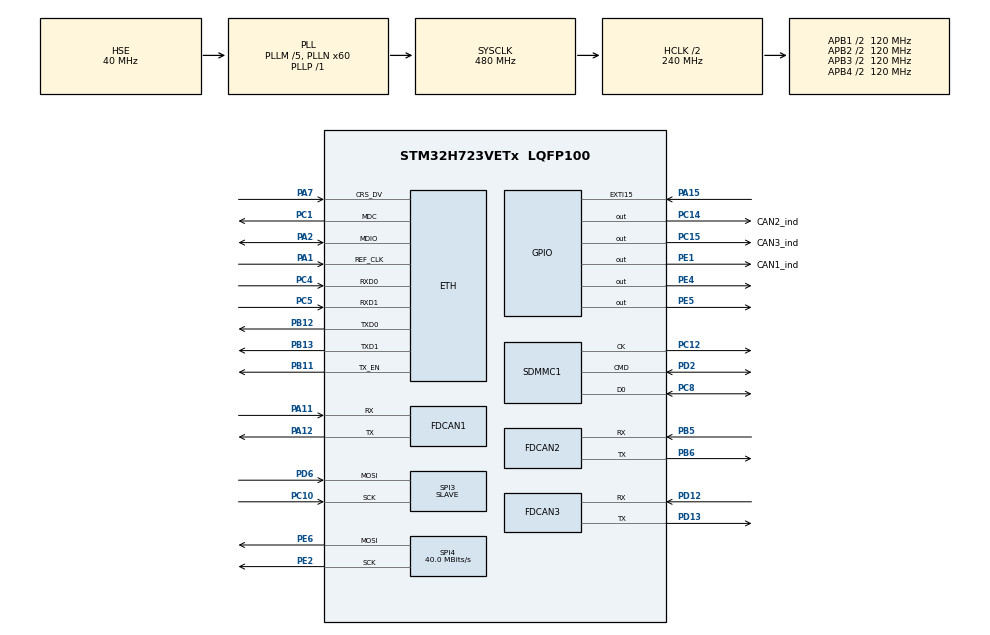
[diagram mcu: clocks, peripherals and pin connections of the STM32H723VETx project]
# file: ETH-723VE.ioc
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CORTEX_M7.AccessPermission_S-Cortex_Memory_Protection_Unit_Region1_Settings_S=MPU_REGION_FULL_ACCESS
CORTEX_M7.AccessPermission_S-Cortex_Memory_Protection_Unit_Region2_Settings_S=MPU_REGION_FULL_ACCESS
CORTEX_M7.AccessPermission_S-Cortex_Memory_Protection_Unit_Region3_Settings_S=MPU_REGION_FULL_ACCESS
CORTEX_M7.BaseAddress_S-Cortex_Memory_Protection_Unit_Region1_Settings_S=0x30000000
CORTEX_M7.BaseAddress_S-Cortex_Memory_Protection_Unit_Region2_Settings_S=0x30004000
CORTEX_M7.BaseAddress_S-Cortex_Memory_Protection_Unit_Region3_Settings_S=0x24000000
CORTEX_M7.CPU_DCache=Enabled
CORTEX_M7.CPU_ICache=Enabled
CORTEX_M7.Enable_S-Cortex_Memory_Protection_Unit_Region1_Settings_S=MPU_REGION_ENABLE
CORTEX_M7.Enable_S-Cortex_Memory_Protection_Unit_Region2_Settings_S=MPU_REGION_ENABLE
CORTEX_M7.Enable_S-Cortex_Memory_Protection_Unit_Region3_Settings_S=MPU_REGION_ENABLE
CORTEX_M7.IsBufferable_S-Cortex_Memory_Protection_Unit_Region1_Settings_S=MPU_ACCESS_BUFFERABLE
CORTEX_M7.IsShareable_S-Cortex_Memory_Protection_Unit_Region2_Settings_S=MPU_ACCESS_SHAREABLE
CORTEX_M7.IsShareable_S-Cortex_Memory_Protection_Unit_Region3_Settings_S=MPU_ACCESS_SHAREABLE
CORTEX_M7.Size_S-Cortex_Memory_Protection_Unit_Region1_Settings_S=MPU_REGION_SIZE_1KB
CORTEX_M7.Size_S-Cortex_Memory_Protection_Unit_Region2_Settings_S=MPU_REGION_SIZE_16KB
CORTEX_M7.Size_S-Cortex_Memory_Protection_Unit_Region3_Settings_S=MPU_REGION_SIZE_128KB
CORTEX_M7.TypeExtField_S-Cortex_Memory_Protection_Unit_Region2_Settings_S=MPU_TEX_LEVEL1
CORTEX_M7.default_mode_Activation=1
Dma.Request0=SPI3_RX
Dma.Request1=SPI4_TX
Dma.SPI3_RX.0.Direction=DMA_PERIPH_TO_MEMORY
Dma.SPI3_RX.0.EventEnable=DISABLE
Dma.SPI3_RX.0.FIFOMode=DMA_FIFOMODE_DISABLE
Dma.SPI3_RX.0.Instance=DMA1_Stream1
Dma.SPI3_RX.0.MemDataAlignment=DMA_MDATAALIGN_BYTE
Dma.SPI3_RX.0.MemInc=DMA_MINC_ENABLE
Dma.SPI3_RX.0.Mode=DMA_CIRCULAR
Dma.SPI3_RX.0.PeriphDataAlignment=DMA_PDATAALIGN_BYTE
Dma.SPI3_RX.0.PeriphInc=DMA_PINC_DISABLE
Dma.SPI3_RX.0.Polarity=HAL_DMAMUX_REQ_GEN_RISING
Dma.SPI3_RX.0.Priority=DMA_PRIORITY_LOW
Dma.SPI3_RX.0.RequestNumber=1
Dma.SPI3_RX.0.SignalID=NONE
Dma.SPI3_RX.0.SyncEnable=DISABLE
Dma.SPI3_RX.0.SyncPolarity=HAL_DMAMUX_SYNC_NO_EVENT
Dma.SPI3_RX.0.SyncRequestNumber=1
Dma.SPI3_RX.0.SyncSignalID=NONE
Dma.SPI4_TX.1.Direction=DMA_MEMORY_TO_PERIPH
Dma.SPI4_TX.1.EventEnable=DISABLE
Dma.SPI4_TX.1.FIFOMode=DMA_FIFOMODE_DISABLE
Dma.SPI4_TX.1.Instance=DMA1_Stream0
Dma.SPI4_TX.1.MemDataAlignment=DMA_MDATAALIGN_BYTE
Dma.SPI4_TX.1.MemInc=DMA_MINC_ENABLE
Dma.SPI4_TX.1.Mode=DMA_NORMAL
Dma.SPI4_TX.1.PeriphDataAlignment=DMA_PDATAALIGN_BYTE
Dma.SPI4_TX.1.PeriphInc=DMA_PINC_DISABLE
Dma.SPI4_TX.1.Polarity=HAL_DMAMUX_REQ_GEN_RISING
Dma.SPI4_TX.1.Priority=DMA_PRIORITY_LOW
Dma.SPI4_TX.1.RequestNumber=1
Dma.SPI4_TX.1.SignalID=NONE
Dma.SPI4_TX.1.SyncEnable=DISABLE
Dma.SPI4_TX.1.SyncPolarity=HAL_DMAMUX_SYNC_NO_EVENT
Dma.SPI4_TX.1.SyncRequestNumber=1
Dma.SPI4_TX.1.SyncSignalID=NONE
ETH.MACAddr=02\:00\:00\:00\:00\:00
ETH.MediaInterface=HAL_ETH_RMII_MODE
ETH.RxBuffAddress=0x30000400
ETH.RxBuffLen=1000
FATFS._MAX_LFN=64
FATFS._MAX_SS=4096
FATFS._USE_LFN=1
FDCAN1.AutoRetransmission=ENABLE
FDCAN1.CalculateBaudRateNominal=1000000
FDCAN1.CalculateTimeQuantumNominal=12.5
FDCAN1.DataSyncJumpWidth=4
FDCAN1.DataTimeSeg1=5
FDCAN1.DataTimeSeg2=4
FDCAN1.ExtFiltersNbr=1
FDCAN1.FrameFormat=FDCAN_FRAME_FD_BRS
FDCAN1.MessageRAMOffset=0
FDCAN1.Mode=FDCAN_MODE_NORMAL
FDCAN1.NominalPrescaler=1
FDCAN1.NominalSyncJumpWidth=24
FDCAN1.NominalTimeSeg1=55
FDCAN1.NominalTimeSeg2=24
FDCAN1.RxFifo0ElmtSize=FDCAN_DATA_BYTES_64
FDCAN1.RxFifo0ElmtsNbr=24
FDCAN1.StdFiltersNbr=0
FDCAN1.TransmitPause=ENABLE
FDCAN1.TxElmtSize=FDCAN_DATA_BYTES_64
FDCAN1.TxFifoQueueElmtsNbr=24
FDCAN2.AutoRetransmission=ENABLE
FDCAN2.CalculateBaudRateNominal=1000000
FDCAN2.CalculateTimeQuantumNominal=12.5
FDCAN2.ClockCalibrationCCU=DISABLE
FDCAN2.DataSyncJumpWidth=4
FDCAN2.DataTimeSeg1=5
FDCAN2.DataTimeSeg2=4
FDCAN2.ExtFiltersNbr=1
FDCAN2.FrameFormat=FDCAN_FRAME_FD_BRS
FDCAN2.MessageRAMOffset=768
FDCAN2.Mode=FDCAN_MODE_NORMAL
FDCAN2.NominalPrescaler=1
FDCAN2.NominalSyncJumpWidth=24
FDCAN2.NominalTimeSeg1=55
FDCAN2.NominalTimeSeg2=24
FDCAN2.RxFifo0ElmtSize=FDCAN_DATA_BYTES_64
FDCAN2.RxFifo0ElmtsNbr=24
FDCAN2.StdFiltersNbr=0
FDCAN2.TransmitPause=ENABLE
FDCAN2.TxElmtSize=FDCAN_DATA_BYTES_64
FDCAN2.TxFifoQueueElmtsNbr=24
FDCAN3.AutoRetransmission=ENABLE
FDCAN3.CalculateBaudRateNominal=1000000
FDCAN3.CalculateTimeQuantumNominal=12.5
FDCAN3.DataSyncJumpWidth=4
FDCAN3.DataTimeSeg1=5
FDCAN3.DataTimeSeg2=4
FDCAN3.ExtFiltersNbr=1
FDCAN3.FrameFormat=FDCAN_FRAME_FD_BRS
FDCAN3.MessageRAMOffset=1536
FDCAN3.NominalPrescaler=1
FDCAN3.NominalSyncJumpWidth=24
FDCAN3.NominalTimeSeg1=55
FDCAN3.NominalTimeSeg2=24
FDCAN3.RxFifo0ElmtSize=FDCAN_DATA_BYTES_64
FDCAN3.RxFifo0ElmtsNbr=24
FDCAN3.TransmitPause=ENABLE
FDCAN3.TxElmtSize=FDCAN_DATA_BYTES_64
FDCAN3.TxFifoQueueElmtsNbr=24
LWIP.BSP.number=1
LWIP.IP_ADDRESS=010.127.000.002
LWIP.LWIP_DHCP=0
LWIP.LWIP_IGMP=1
LWIP.LWIP_MULTICAST_TX_OPTIONS=1
LWIP.LWIP_RAM_HEAP_POINTER=0x30004000
LWIP.LWIP_TCP=0
LWIP.MEM_SIZE=14336
LWIP.NETMASK_ADDRESS=255.255.255.000
LWIP.Version=v2.1.2_Cube
LWIP0.BSP.STBoard=false
LWIP0.BSP.api=BSP_COMPONENT_DRIVER
LWIP0.BSP.component=LAN8742
LWIP0.BSP.instance=LAN8742
LWIP0.BSP.name=Driver_PHY
LWIP0.BSP.semaphore=S_LAN8742
LWIP0.BSP.solution=LAN8742
Mcu.Family=STM32H7
Mcu.Name=STM32H723VETx
Mcu.Package=LQFP100
NVIC.DMA1_Stream0_IRQn=true\:0\:0\:false\:false\:true\:false\:true\:true
NVIC.DMA1_Stream1_IRQn=true\:0\:0\:false\:false\:true\:false\:true\:true
NVIC.EXTI15_10_IRQn=true\:0\:0\:false\:false\:true\:true\:true\:true
NVIC.FDCAN1_IT0_IRQn=true\:0\:0\:false\:false\:true\:true\:true\:true
NVIC.FDCAN1_IT1_IRQn=true\:0\:0\:false\:false\:true\:true\:true\:true
NVIC.FDCAN2_IT0_IRQn=true\:0\:0\:false\:false\:true\:true\:true\:true
NVIC.FDCAN2_IT1_IRQn=true\:0\:0\:false\:false\:true\:true\:true\:true
NVIC.PriorityGroup=NVIC_PRIORITYGROUP_4
NVIC.SPI3_IRQn=true\:0\:0\:false\:false\:true\:true\:true\:true
NVIC.SPI4_IRQn=true\:0\:0\:false\:false\:true\:true\:true\:true
NVIC.TIM1_UP_IRQn=true\:0\:0\:false\:false\:true\:true\:true\:true
NVIC.TIM7_IRQn=true\:0\:0\:false\:false\:true\:true\:true\:true
PA1.GPIO_Speed=GPIO_SPEED_FREQ_HIGH
PA1.Mode=RMII
PA1.Signal=ETH_REF_CLK
PA11.Mode=FDCAN_Activate
PA11.Signal=FDCAN1_RX
PA12.Mode=FDCAN_Activate
PA12.Signal=FDCAN1_TX
PA13(JTMS/SWDIO).Mode=Serial_Wire
PA13(JTMS/SWDIO).Signal=DEBUG_JTMS-SWDIO
PA14(JTCK/SWCLK).Mode=Serial_Wire
PA14(JTCK/SWCLK).Signal=DEBUG_JTCK-SWCLK
PA15(JTDI).GPIO_ModeDefaultEXTI=GPIO_MODE_IT_FALLING
PA15(JTDI).Signal=GPXTI15
PA2.GPIO_Speed=GPIO_SPEED_FREQ_HIGH
PA2.Mode=RMII
PA2.Signal=ETH_MDIO
PA7.GPIO_Speed=GPIO_SPEED_FREQ_HIGH
PA7.Mode=RMII
PA7.Signal=ETH_CRS_DV
PB11.GPIO_Speed=GPIO_SPEED_FREQ_HIGH
PB11.Mode=RMII
PB11.Signal=ETH_TX_EN
PB12.GPIO_Speed=GPIO_SPEED_FREQ_HIGH
PB12.Mode=RMII
PB12.Signal=ETH_TXD0
PB13.GPIO_Speed=GPIO_SPEED_FREQ_HIGH
PB13.Mode=RMII
PB13.Signal=ETH_TXD1
PB5.Mode=FDCAN_Activate
PB5.Signal=FDCAN2_RX
PB6.Mode=FDCAN_Activate
PB6.Signal=FDCAN2_TX
PC1.GPIO_Speed=GPIO_SPEED_FREQ_HIGH
PC1.Mode=RMII
PC1.Signal=ETH_MDC
PC10.GPIO_PuPd=GPIO_NOPULL
PC10.GPIO_Speed=GPIO_SPEED_FREQ_VERY_HIGH
PC10.Mode=RX_Only_Simplex_Unidirect_Slave
PC10.Signal=SPI3_SCK
PC12.GPIO_PuPd=GPIO_PULLUP
PC12.GPIO_Speed_High_Default=GPIO_SPEED_FREQ_HIGH
PC12.Mode=SD_1_bit
PC12.Signal=SDMMC1_CK
PC14-OSC32_IN.GPIO_Label=CAN2_ind
PC14-OSC32_IN.Signal=GPIO_Output
PC15-OSC32_OUT.GPIO_Label=CAN3_ind
PC15-OSC32_OUT.Signal=GPIO_Output
PC4.GPIO_Speed=GPIO_SPEED_FREQ_HIGH
PC4.Mode=RMII
PC4.Signal=ETH_RXD0
PC5.GPIO_Speed=GPIO_SPEED_FREQ_HIGH
PC5.Mode=RMII
PC5.Signal=ETH_RXD1
PC8.GPIO_PuPd=GPIO_PULLUP
PC8.GPIO_Speed_High_Default=GPIO_SPEED_FREQ_HIGH
PC8.Mode=SD_1_bit
PC8.Signal=SDMMC1_D0
PD12.Mode=FDCAN_Activate
PD12.Signal=FDCAN3_RX
PD13.Mode=FDCAN_Activate
PD13.Signal=FDCAN3_TX
PD2.GPIO_PuPd=GPIO_PULLUP
PD2.GPIO_Speed_High_Default=GPIO_SPEED_FREQ_HIGH
PD2.Mode=SD_1_bit
PD2.Signal=SDMMC1_CMD
PD6.GPIO_Speed=GPIO_SPEED_FREQ_VERY_HIGH
PD6.Mode=RX_Only_Simplex_Unidirect_Slave
PD6.Signal=SPI3_MOSI
PE1.GPIO_Label=CAN1_ind
PE1.Signal=GPIO_Output
PE2.GPIO_PuPd=GPIO_PULLDOWN
PE2.GPIO_Speed=GPIO_SPEED_FREQ_VERY_HIGH
PE2.Mode=TX_Only_Simplex_Unidirect_Master
PE2.Signal=SPI4_SCK
PE4.Signal=GPIO_Output
PE5.GPIO_ModeDefaultOutputPP=GPIO_MODE_OUTPUT_OD
PE5.GPIO_PuPd=GPIO_NOPULL
PE5.Signal=GPIO_Output
PE6.GPIO_Speed=GPIO_SPEED_FREQ_VERY_HIGH
PE6.Mode=TX_Only_Simplex_Unidirect_Master
PE6.Signal=SPI4_MOSI
PH0-OSC_IN.Mode=HSE-External-Clock-Source
PH0-OSC_IN.Signal=RCC_OSC_IN
ProjectManager.HeapSize=0x2000
ProjectManager.StackSize=0x4000
ProjectManager.TargetToolchain=EWARM V8.32
RCC.ADCFreq_Value=160000000
RCC.APB1Freq_Value=120000000
RCC.APB2Freq_Value=120000000
RCC.APB3Freq_Value=120000000
RCC.APB4Freq_Value=120000000
RCC.CortexFreq_Value=480000000
RCC.D1PPRE=RCC_APB3_DIV2
RCC.D2PPRE1=RCC_APB1_DIV2
RCC.D2PPRE2=RCC_APB2_DIV2
RCC.D3PPRE=RCC_APB4_DIV2
RCC.DIVM1=5
RCC.DIVM2=5
RCC.DIVN1=60
RCC.DIVN2=40
RCC.DIVP1=1
RCC.DIVQ1=6
RCC.HCLKFreq_Value=240000000
RCC.HPRE=RCC_HCLK_DIV2
RCC.HSE_VALUE=40000000
RCC.PLLSourceVirtual=RCC_PLLSOURCE_HSE
RCC.SPI123CLockSelection=RCC_SPI123CLKSOURCE_PLL2
RCC.SYSCLKFreq_VALUE=480000000
RCC.SYSCLKSource=RCC_SYSCLKSOURCE_PLLCLK
RCC.Spi45ClockSelection=RCC_SPI45CLKSOURCE_PLL2
RCC.USBFreq_Value=80000000
SDMMC1.ClockDiv=20
SPI3.DataSize=SPI_DATASIZE_8BIT
SPI3.Direction=SPI_DIRECTION_2LINES_RXONLY
SPI3.Mode=SPI_MODE_SLAVE
SPI3.VirtualType=VM_SLAVE
SPI4.BaudRatePrescaler=SPI_BAUDRATEPRESCALER_4
SPI4.CalculateBaudRate=40.0 MBits/s
SPI4.DataSize=SPI_DATASIZE_8BIT
SPI4.Direction=SPI_DIRECTION_2LINES_TXONLY
SPI4.Mode=SPI_MODE_MASTER
SPI4.NSSPMode=SPI_NSS_PULSE_DISABLE
SPI4.VirtualType=VM_MASTER
TIM1.Period=49
TIM1.Prescaler=479
TIM7.Period=50000
TIM7.Prescaler=240
VP_FATFS_VS_SDIO.Mode=SDIO
VP_LWIP_VS_Enabled.Mode=Enabled
VP_TIM1_VS_ClockSourceINT.Mode=Internal
VP_TIM7_VS_ClockSourceINT.Mode=Enable_Timer
board=custom

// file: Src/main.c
/* USER CODE BEGIN Header */
/**
  ******************************************************************************
  * @file           : main.c
  * @brief          : Main program body
  ******************************************************************************
  * @attention
  *
  * Copyright (c) 2022 STMicroelectronics.
  * All rights reserved.
  *
  * This software is licensed under terms that can be found in the LICENSE file
  * in the root directory of this software component.
  * If no LICENSE file comes with this software, it is provided AS-IS.
  *
  ******************************************************************************
  */
/* USER CODE END Header */
#include "main.h"
#include "fatfs.h"
#include "lwip.h"

/* USER CODE BEGIN Includes */
#include "net.h"
#include "helpers.h"
#include <string.h>

#include "stm32h7xx_ll_gpio.h"
#include "stm32h7xx_ll_spi.h"

#include "lwip.h"
#include "lwip/udp.h"

#include "uavcan.h"

#include "circular_heap.h"

#include "sd_ini_reader.h"
/* USER CODE END Includes */

/* USER CODE BEGIN PD */
#define sd_param
/* USER CODE END PD */

FDCAN_HandleTypeDef hfdcan1;
FDCAN_HandleTypeDef hfdcan2;
FDCAN_HandleTypeDef hfdcan3;

SD_HandleTypeDef hsd1;

SPI_HandleTypeDef hspi3;
SPI_HandleTypeDef hspi4;
DMA_HandleTypeDef hdma_spi3_rx;
DMA_HandleTypeDef hdma_spi4_tx;

TIM_HandleTypeDef htim1;
TIM_HandleTypeDef htim7;

/* USER CODE BEGIN PV */
FDCAN_HandleTypeDef * FDCAN_Handles_Map[3] = {&hfdcan1, &hfdcan2, &hfdcan3};

circular_heap_t spi_tx_heap;
queue spi_tx_queue = {NULL, NULL};

#pragma location=0x24000000
uint8_t SPI_TX_buf[16384] = {0};

#pragma location=0x30007C00
uint8_t SPI_RX_body[1024] = {0};

uint32_t SPI_RX_HEAD = 0;
uint32_t SPI_RX_TAIL = 0;
uint32_t SPI_RX_LAST_TAIL = 0;

extern uint8_t LCM_rx_flag;
extern uint8_t LCM_tx_flag;

uint8_t indicators_state[3] = { 0 };
uint16_t indicators_pins[3] = { CAN1_ind_Pin, CAN2_ind_Pin, CAN3_ind_Pin };
GPIO_TypeDef *indicators_ports[3] = { CAN1_ind_GPIO_Port, CAN2_ind_GPIO_Port, CAN3_ind_GPIO_Port };
/* USER CODE END PV */

void SystemClock_Config(void);
void PeriphCommonClock_Config(void);
static void MPU_Initialize(void);
static void MPU_Config(void);
static void MX_GPIO_Init(void);
static void MX_DMA_Init(void);
static void MX_TIM1_Init(void);
static void MX_FDCAN1_Init(void);
static void MX_FDCAN2_Init(void);
static void MX_FDCAN3_Init(void);
static void MX_SPI3_Init(void);
static void MX_TIM7_Init(void);
static void MX_SPI4_Init(void);
static void MX_SDMMC1_SD_Init(void);
/* USER CODE BEGIN PFP */
void UDP_TX_send( uint16_t *UDP_TX_level );
/* USER CODE END PFP */

/* USER CODE BEGIN 0 */
extern uint64_t TIM7_ITs;

#pragma optimize s=none
uint64_t micros()
{
  return (uint64_t)(__HAL_TIM_GET_COUNTER(&htim7) + 50000u * TIM7_ITs);
}

#pragma optimize s=none
void micros_delay( uint64_t delay )
{
  uint64_t timestamp = micros();
  while( micros() < timestamp + delay );
}

uint32_t previos_char = 9000;

uint8_t debug_collector[1024] = {0};
uint32_t debug_index = 0;

extern struct udp_pcb *upcb;

uint8_t can1_tx_buffer[4096] = {0};
circular_heap_t can1_tx_heap;
queue can1_tx_queue = {NULL, NULL};

uint8_t can2_tx_buffer[4096] = {0};
circular_heap_t can2_tx_heap;
queue can2_tx_queue = {NULL, NULL};

uint8_t can3_tx_buffer[4096] = {0};
circular_heap_t can3_tx_heap;
queue can3_tx_queue = {NULL, NULL};

queue *can_tx_queues[3] = { &can1_tx_queue, &can2_tx_queue, &can3_tx_queue };
circular_heap_t *can_tx_heaps[3] = { &can1_tx_heap, &can2_tx_heap, &can3_tx_heap };

FDCAN_ErrorCountersTypeDef can_error_count[3] = {0};
FDCAN_ProtocolStatusTypeDef can_protocol_stat[3] = {0};

struct pbuf *UDP_TX_buf = NULL;
#define UDP_TX_size 128

//#define uavcan_en

//uint8_t host_mac_addr[6] = {0x7c,0x83,0x34,0xb9,0xee,0x65}; // MORS 1
//uint8_t host_mac_addr[6] = {0x7c,0x83,0x34,0xb9,0xf2,0x91}; // MORS 2
uint8_t MY_IP_ADDRESS[4];
uint8_t host_mac_addr[6] = {0}; // MORS 2
/* USER CODE END 0 */

int main(void)
{
  /* USER CODE BEGIN 1 */
  circular_heap_init(&spi_tx_heap, SPI_TX_buf, 16384);

  circular_heap_init(&can1_tx_heap, can1_tx_buffer, 4096);
  circular_heap_init(&can2_tx_heap, can2_tx_buffer, 4096);
  circular_heap_init(&can3_tx_heap, can3_tx_buffer, 4096);

  UAVCAN_setup();

  /* USER CODE END 1 */

  /* Enable I-Cache---------------------------------------------------------*/
  SCB_EnableICache();

  /* Enable D-Cache---------------------------------------------------------*/
  SCB_EnableDCache();

  /* MCU Configuration--------------------------------------------------------*/

  /* Reset of all peripherals, Initializes the Flash interface and the Systick. */
  HAL_Init();

  /* MPU Configuration--------------------------------------------------------*/
  MPU_Config();

  /* Configure the system clock */
  SystemClock_Config();

/* Configure the peripherals common clocks */
  PeriphCommonClock_Config();

  /* USER CODE BEGIN SysInit */
  __HAL_RCC_D2SRAM1_CLK_ENABLE(); // have no idea how to do this from the CubeMX software.
  HAL_Delay(1000); // does not work without this line. I believe it's linked to lan8720 start-up time.
  /* USER CODE END SysInit */

  /* Initialize all configured peripherals */
  MX_GPIO_Init();
  MX_DMA_Init();
  MX_TIM1_Init();
  MX_FDCAN1_Init();
  MX_FDCAN2_Init();
  MX_FDCAN3_Init();
  //MX_LWIP_Init();
  MX_SPI3_Init();
  MX_TIM7_Init();
  MX_SPI4_Init();
  MX_SDMMC1_SD_Init();
  MX_FATFS_Init();
  /* USER CODE BEGIN 2 */
  #ifdef sd_param
  parse_sd_ini();
  #endif

  HAL_Delay(250);

  MX_LWIP_Init();

  HAL_Delay(250);

  uint16_t UDP_TX_level = 0;
  UDP_TX_buf = pbuf_alloc(PBUF_TRANSPORT, UDP_TX_size, PBUF_RAM); // allocate LWIP memory for outgoing UDP packet

  HAL_SPI_Receive_DMA(&hspi3, SPI_RX_body, 1024);

  udp_client_connect();
  udp_lcm_connect();

  HAL_TIM_Base_Start_IT(&htim7); // enable microseconds timesource
  HAL_TIM_Base_Start_IT(&htim1);

  // Filter for messages from master to this dedicated device.
  FDCAN_FilterTypeDef sFilterConfig;
  sFilterConfig.IdType = FDCAN_EXTENDED_ID;
  sFilterConfig.FilterIndex = 0;
  sFilterConfig.FilterType = FDCAN_FILTER_RANGE;
  sFilterConfig.FilterConfig = FDCAN_FILTER_TO_RXFIFO0;
  sFilterConfig.FilterID1 = 0x0;
  sFilterConfig.FilterID2 = 0x1FFFFFFF;

  // iterate over three CAN bus handles and enable their parameters
  for( int i = 0; i < 3; i++)
  {
    // choose one FDCAN Handle from the three available
    FDCAN_HandleTypeDef * FDCAN_Handle = FDCAN_Handles_Map[i];

    if( FDCAN_Handle != NULL )
    {
      // Configure CAN frames filtering
      if( HAL_FDCAN_ConfigFilter(FDCAN_Handle, &sFilterConfig) != HAL_OK ){ Error_Handler(); }

      // Configure global filter: Filter all remote frames with STD and EXT ID. Reject non matching frames with STD ID and EXT ID
      if( HAL_FDCAN_ConfigGlobalFilter(FDCAN_Handle, FDCAN_REJECT, FDCAN_REJECT, FDCAN_FILTER_REMOTE, FDCAN_FILTER_REMOTE) != HAL_OK ){ Error_Handler(); }

      // Configure and enable Tx Delay Compensation, required for BRS mode.
      if( HAL_FDCAN_ConfigTxDelayCompensation(FDCAN_Handle, 5, 0) != HAL_OK){ Error_Handler(); }
      if( HAL_FDCAN_EnableTxDelayCompensation(FDCAN_Handle) != HAL_OK){ Error_Handler(); }

      // Activate Rx FIFO 0 new message notification
      //if( HAL_FDCAN_ActivateNotification(FDCAN_Handle, FDCAN_IT_RX_FIFO0_NEW_MESSAGE, 0) != HAL_OK ){ Error_Handler(); }

      // Activate TX FIFO empty notification
      if( HAL_FDCAN_ActivateNotification( FDCAN_Handle,
                                          FDCAN_IT_TX_FIFO_EMPTY,
                                          FDCAN_TX_BUFFER0 | FDCAN_TX_BUFFER1 | FDCAN_TX_BUFFER2) != HAL_OK )
                                          { Error_Handler(); }

      // Start FDCAN periphery
      if( HAL_FDCAN_Start(FDCAN_Handle) != HAL_OK ){ Error_Handler(); }
    }
  }
  ///////////////////////////////////////////////////////////////////////////

  // enable the companion chip
  LL_GPIO_SetOutputPin(GPIOE, LL_GPIO_PIN_5);

  // try wake on lan
  for( int i = 0; i < 2; i++ )
  {
    micros_delay(100000);
    wake_on_lan( host_mac_addr );
  }

  /* USER CODE END 2 */

  /* Infinite loop */
  /* USER CODE BEGIN WHILE */
  uint32_t timestamp = HAL_GetTick();
  uint64_t uavcan_request_timestamp = micros();
  while (1)
  {
    /* USER CODE END WHILE */

    /* USER CODE BEGIN 3 */
    if( HAL_GetTick() > timestamp )
    {
      timestamp += 100;

      if( UDP_TX_level > 0 )
      {
        UDP_TX_send( &UDP_TX_level );
      }
    }

    MX_LWIP_Process();

    if( micros() > uavcan_request_timestamp )
    {
      UAVCAN_request();

      uavcan_request_timestamp += 1000;
    }

    if( LCM_rx_flag )
    {
      UAVCAN_send();

      LCM_rx_flag = 0;
    }

    if( LCM_tx_flag )
    {
      transmit_servo_state();

      LCM_tx_flag = 0;
    }

    /// retrieve and process frames from the on-chip FDCAN peripherals
    for( int i = 0; i < 3; i++)
    {
      HAL_FDCAN_GetErrorCounters(FDCAN_Handles_Map[i], &can_error_count[i]);
      HAL_FDCAN_GetProtocolStatus(FDCAN_Handles_Map[i], &can_protocol_stat[i]);

      // ? https://community.st.com/t5/stm32-mcu-products/stm32h7-fdcan-has-lost-the-automatic-bus-off-recovery-mechanism/td-p/187400
      if( can_protocol_stat[i].BusOff )
      {
        CLEAR_BIT(FDCAN_Handles_Map[i]->Instance->CCCR, FDCAN_CCCR_INIT);
      }

      while( HAL_FDCAN_GetRxFifoFillLevel(FDCAN_Handles_Map[i], FDCAN_RX_FIFO0) > 0 )
      {
        FDCAN_RxHeaderTypeDef Header;
        uint8_t RxData[64];

        if (HAL_FDCAN_GetRxMessage(FDCAN_Handles_Map[i], FDCAN_RX_FIFO0, &Header, RxData) != HAL_OK){ Error_Handler(); }

        // turn LED to indicate received message
        indicators_state[i] = 1;

        // separate frames into the LCM and UAVCAN -related buffers
        if( !parse_canard_frame( Header.Identifier, LengthDecoder(Header.DataLength), RxData ) )
        {
          // the canard frames filter said it is not the canard frame and returned 0.
          // we have to put this frame untouched into UDP TX chain
          uint8_t local_buffer[69] = {0};
          uint8_t msg_len = serialize_can_frame(  i,
                                                  Header.Identifier,
                                                  LengthDecoder(Header.DataLength),
                                                  RxData,
                                                  local_buffer);
          if( UDP_TX_level + msg_len > UDP_TX_size )
          {
            UDP_TX_send( &UDP_TX_level );
          }

          pbuf_take_at( UDP_TX_buf, local_buffer, msg_len, UDP_TX_level);
          UDP_TX_level += msg_len;
        }
      }
    }

    // process SPI RX buffer
    while( SPI_RX_HEAD != SPI_RX_TAIL )
    {
      uint8_t *local_buffer = &SPI_RX_body[SPI_RX_HEAD];
      uint8_t full_frame_length = local_buffer[0]; // the length of the frame is stored in it's head

      SPI_RX_HEAD += full_frame_length;

      if( SPI_RX_HEAD == SPI_RX_LAST_TAIL )
      {
        SPI_RX_HEAD = 0;

        SPI_RX_LAST_TAIL = 1024;
      }

      uint32_t identifier;
      size_t size;
      uint8_t RxData[69];
      deserialize_can_frame( NULL, &identifier, &size, RxData, local_buffer);

      // separate frames into the LCM and UAVCAN -related buffers
      if( !parse_canard_frame( identifier, size, RxData ) )
      {
        // the canard frames filter said it is not the canard frame and returned 0.
        // we have to put this frame untouched into UDP TX chain
        if( UDP_TX_level + full_frame_length > UDP_TX_size )
        {
          UDP_TX_send( &UDP_TX_level );
        }

        pbuf_take_at( UDP_TX_buf, local_buffer, full_frame_length, UDP_TX_level);
        UDP_TX_level += full_frame_length;
      }
    }
  }
  /* USER CODE END 3 */
}

void SystemClock_Config(void)
{
  RCC_OscInitTypeDef RCC_OscInitStruct = {0};
  RCC_ClkInitTypeDef RCC_ClkInitStruct = {0};

  /** Supply configuration update enable
  */
  HAL_PWREx_ConfigSupply(PWR_LDO_SUPPLY);

  /** Configure the main internal regulator output voltage
  */
  __HAL_PWR_VOLTAGESCALING_CONFIG(PWR_REGULATOR_VOLTAGE_SCALE0);

  while(!__HAL_PWR_GET_FLAG(PWR_FLAG_VOSRDY)) {}

  /** Initializes the RCC Oscillators according to the specified parameters
  * in the RCC_OscInitTypeDef structure.
  */
  RCC_OscInitStruct.OscillatorType = RCC_OSCILLATORTYPE_HSE;
  RCC_OscInitStruct.HSEState = RCC_HSE_BYPASS;
  RCC_OscInitStruct.PLL.PLLState = RCC_PLL_ON;
  RCC_OscInitStruct.PLL.PLLSource = RCC_PLLSOURCE_HSE;
  RCC_OscInitStruct.PLL.PLLM = 5;
  RCC_OscInitStruct.PLL.PLLN = 60;
  RCC_OscInitStruct.PLL.PLLP = 1;
  RCC_OscInitStruct.PLL.PLLQ = 6;
  RCC_OscInitStruct.PLL.PLLR = 2;
  RCC_OscInitStruct.PLL.PLLRGE = RCC_PLL1VCIRANGE_3;
  RCC_OscInitStruct.PLL.PLLVCOSEL = RCC_PLL1VCOWIDE;
  RCC_OscInitStruct.PLL.PLLFRACN = 0;
  if (HAL_RCC_OscConfig(&RCC_OscInitStruct) != HAL_OK)
  {
    Error_Handler();
  }

  /** Initializes the CPU, AHB and APB buses clocks
  */
  RCC_ClkInitStruct.ClockType = RCC_CLOCKTYPE_HCLK|RCC_CLOCKTYPE_SYSCLK
                              |RCC_CLOCKTYPE_PCLK1|RCC_CLOCKTYPE_PCLK2
                              |RCC_CLOCKTYPE_D3PCLK1|RCC_CLOCKTYPE_D1PCLK1;
  RCC_ClkInitStruct.SYSCLKSource = RCC_SYSCLKSOURCE_PLLCLK;
  RCC_ClkInitStruct.SYSCLKDivider = RCC_SYSCLK_DIV1;
  RCC_ClkInitStruct.AHBCLKDivider = RCC_HCLK_DIV2;
  RCC_ClkInitStruct.APB3CLKDivider = RCC_APB3_DIV2;
  RCC_ClkInitStruct.APB1CLKDivider = RCC_APB1_DIV2;
  RCC_ClkInitStruct.APB2CLKDivider = RCC_APB2_DIV2;
  RCC_ClkInitStruct.APB4CLKDivider = RCC_APB4_DIV2;

  if (HAL_RCC_ClockConfig(&RCC_ClkInitStruct, FLASH_LATENCY_3) != HAL_OK)
  {
    Error_Handler();
  }
}

void PeriphCommonClock_Config(void)
{
  RCC_PeriphCLKInitTypeDef PeriphClkInitStruct = {0};

  /** Initializes the peripherals clock
  */
  PeriphClkInitStruct.PeriphClockSelection = RCC_PERIPHCLK_SPI3|RCC_PERIPHCLK_SPI4;
  PeriphClkInitStruct.PLL2.PLL2M = 5;
  PeriphClkInitStruct.PLL2.PLL2N = 40;
  PeriphClkInitStruct.PLL2.PLL2P = 2;
  PeriphClkInitStruct.PLL2.PLL2Q = 2;
  PeriphClkInitStruct.PLL2.PLL2R = 2;
  PeriphClkInitStruct.PLL2.PLL2RGE = RCC_PLL2VCIRANGE_3;
  PeriphClkInitStruct.PLL2.PLL2VCOSEL = RCC_PLL2VCOWIDE;
  PeriphClkInitStruct.PLL2.PLL2FRACN = 0;
  PeriphClkInitStruct.Spi123ClockSelection = RCC_SPI123CLKSOURCE_PLL2;
  PeriphClkInitStruct.Spi45ClockSelection = RCC_SPI45CLKSOURCE_PLL2;
  if (HAL_RCCEx_PeriphCLKConfig(&PeriphClkInitStruct) != HAL_OK)
  {
    Error_Handler();
  }
}

static void MX_FDCAN1_Init(void)
{

  hfdcan1.Instance = FDCAN1;
  hfdcan1.Init.FrameFormat = FDCAN_FRAME_FD_BRS;
  hfdcan1.Init.Mode = FDCAN_MODE_NORMAL;
  hfdcan1.Init.AutoRetransmission = ENABLE;
  hfdcan1.Init.TransmitPause = ENABLE;
  hfdcan1.Init.ProtocolException = DISABLE;
  hfdcan1.Init.NominalPrescaler = 1;
  hfdcan1.Init.NominalSyncJumpWidth = 24;
  hfdcan1.Init.NominalTimeSeg1 = 55;
  hfdcan1.Init.NominalTimeSeg2 = 24;
  hfdcan1.Init.DataPrescaler = 1;
  hfdcan1.Init.DataSyncJumpWidth = 4;
  hfdcan1.Init.DataTimeSeg1 = 5;
  hfdcan1.Init.DataTimeSeg2 = 4;
  hfdcan1.Init.MessageRAMOffset = 0;
  hfdcan1.Init.StdFiltersNbr = 0;
  hfdcan1.Init.ExtFiltersNbr = 1;
  hfdcan1.Init.RxFifo0ElmtsNbr = 24;
  hfdcan1.Init.RxFifo0ElmtSize = FDCAN_DATA_BYTES_64;
  hfdcan1.Init.RxFifo1ElmtsNbr = 0;
  hfdcan1.Init.RxFifo1ElmtSize = FDCAN_DATA_BYTES_8;
  hfdcan1.Init.RxBuffersNbr = 0;
  hfdcan1.Init.RxBufferSize = FDCAN_DATA_BYTES_8;
  hfdcan1.Init.TxEventsNbr = 0;
  hfdcan1.Init.TxBuffersNbr = 0;
  hfdcan1.Init.TxFifoQueueElmtsNbr = 24;
  hfdcan1.Init.TxFifoQueueMode = FDCAN_TX_FIFO_OPERATION;
  hfdcan1.Init.TxElmtSize = FDCAN_DATA_BYTES_64;
  if (HAL_FDCAN_Init(&hfdcan1) != HAL_OK)
  {
    Error_Handler();
  }
  /* USER CODE BEGIN FDCAN1_Init 2 */

  /* Configure and enable Tx Delay Compensation, required for BRS mode.
   TdcOffset default recommended value: DataTimeSeg1 * DataPrescaler
   TdcFilter default recommended value: 0 */
  if (HAL_FDCAN_ConfigTxDelayCompensation(&hfdcan1, 5, 0) != HAL_OK)
  {
    Error_Handler();
  }

  if (HAL_FDCAN_EnableTxDelayCompensation(&hfdcan1) != HAL_OK)
  {
    Error_Handler();
  }
  /* USER CODE END FDCAN1_Init 2 */

}

static void MX_FDCAN2_Init(void)
{

  hfdcan2.Instance = FDCAN2;
  hfdcan2.Init.FrameFormat = FDCAN_FRAME_FD_BRS;
  hfdcan2.Init.Mode = FDCAN_MODE_NORMAL;
  hfdcan2.Init.AutoRetransmission = ENABLE;
  hfdcan2.Init.TransmitPause = ENABLE;
  hfdcan2.Init.ProtocolException = DISABLE;
  hfdcan2.Init.NominalPrescaler = 1;
  hfdcan2.Init.NominalSyncJumpWidth = 24;
  hfdcan2.Init.NominalTimeSeg1 = 55;
  hfdcan2.Init.NominalTimeSeg2 = 24;
  hfdcan2.Init.DataPrescaler = 1;
  hfdcan2.Init.DataSyncJumpWidth = 4;
  hfdcan2.Init.DataTimeSeg1 = 5;
  hfdcan2.Init.DataTimeSeg2 = 4;
  hfdcan2.Init.MessageRAMOffset = 768;
  hfdcan2.Init.StdFiltersNbr = 0;
  hfdcan2.Init.ExtFiltersNbr = 1;
  hfdcan2.Init.RxFifo0ElmtsNbr = 24;
  hfdcan2.Init.RxFifo0ElmtSize = FDCAN_DATA_BYTES_64;
  hfdcan2.Init.RxFifo1ElmtsNbr = 0;
  hfdcan2.Init.RxFifo1ElmtSize = FDCAN_DATA_BYTES_8;
  hfdcan2.Init.RxBuffersNbr = 0;
  hfdcan2.Init.RxBufferSize = FDCAN_DATA_BYTES_8;
  hfdcan2.Init.TxEventsNbr = 0;
  hfdcan2.Init.TxBuffersNbr = 0;
  hfdcan2.Init.TxFifoQueueElmtsNbr = 24;
  hfdcan2.Init.TxFifoQueueMode = FDCAN_TX_FIFO_OPERATION;
  hfdcan2.Init.TxElmtSize = FDCAN_DATA_BYTES_64;
  if (HAL_FDCAN_Init(&hfdcan2) != HAL_OK)
  {
    Error_Handler();
  }
  /* USER CODE BEGIN FDCAN2_Init 2 */

  if (HAL_FDCAN_ConfigTxDelayCompensation(&hfdcan2, 5, 0) != HAL_OK)
  {
    Error_Handler();
  }

  if (HAL_FDCAN_EnableTxDelayCompensation(&hfdcan2) != HAL_OK)
  {
    Error_Handler();
  }
  /* USER CODE END FDCAN2_Init 2 */

}

static void MX_FDCAN3_Init(void)
{

  hfdcan3.Instance = FDCAN3;
  hfdcan3.Init.FrameFormat = FDCAN_FRAME_FD_BRS;
  hfdcan3.Init.Mode = FDCAN_MODE_NORMAL;
  hfdcan3.Init.AutoRetransmission = ENABLE;
  hfdcan3.Init.TransmitPause = ENABLE;
  hfdcan3.Init.ProtocolException = DISABLE;
  hfdcan3.Init.NominalPrescaler = 1;
  hfdcan3.Init.NominalSyncJumpWidth = 24;
  hfdcan3.Init.NominalTimeSeg1 = 55;
  hfdcan3.Init.NominalTimeSeg2 = 24;
  hfdcan3.Init.DataPrescaler = 1;
  hfdcan3.Init.DataSyncJumpWidth = 4;
  hfdcan3.Init.DataTimeSeg1 = 5;
  hfdcan3.Init.DataTimeSeg2 = 4;
  hfdcan3.Init.MessageRAMOffset = 1536;
  hfdcan3.Init.StdFiltersNbr = 0;
  hfdcan3.Init.ExtFiltersNbr = 1;
  hfdcan3.Init.RxFifo0ElmtsNbr = 24;
  hfdcan3.Init.RxFifo0ElmtSize = FDCAN_DATA_BYTES_64;
  hfdcan3.Init.RxFifo1ElmtsNbr = 0;
  hfdcan3.Init.RxFifo1ElmtSize = FDCAN_DATA_BYTES_8;
  hfdcan3.Init.RxBuffersNbr = 0;
  hfdcan3.Init.RxBufferSize = FDCAN_DATA_BYTES_8;
  hfdcan3.Init.TxEventsNbr = 0;
  hfdcan3.Init.TxBuffersNbr = 0;
  hfdcan3.Init.TxFifoQueueElmtsNbr = 24;
  hfdcan3.Init.TxFifoQueueMode = FDCAN_TX_FIFO_OPERATION;
  hfdcan3.Init.TxElmtSize = FDCAN_DATA_BYTES_64;
  if (HAL_FDCAN_Init(&hfdcan3) != HAL_OK)
  {
    Error_Handler();
  }
  /* USER CODE BEGIN FDCAN3_Init 2 */

  if (HAL_FDCAN_ConfigTxDelayCompensation(&hfdcan3, 5, 0) != HAL_OK)
  {
    Error_Handler();
  }

  if (HAL_FDCAN_EnableTxDelayCompensation(&hfdcan3) != HAL_OK)
  {
    Error_Handler();
  }
  /* USER CODE END FDCAN3_Init 2 */

}

static void MX_SDMMC1_SD_Init(void)
{

  hsd1.Instance = SDMMC1;
  hsd1.Init.ClockEdge = SDMMC_CLOCK_EDGE_RISING;
  hsd1.Init.ClockPowerSave = SDMMC_CLOCK_POWER_SAVE_DISABLE;
  hsd1.Init.BusWide = SDMMC_BUS_WIDE_1B;
  hsd1.Init.HardwareFlowControl = SDMMC_HARDWARE_FLOW_CONTROL_DISABLE;
  hsd1.Init.ClockDiv = 20;

}

static void MX_SPI3_Init(void)
{

  /* SPI3 parameter configuration*/
  hspi3.Instance = SPI3;
  hspi3.Init.Mode = SPI_MODE_SLAVE;
  hspi3.Init.Direction = SPI_DIRECTION_2LINES_RXONLY;
  hspi3.Init.DataSize = SPI_DATASIZE_8BIT;
  hspi3.Init.CLKPolarity = SPI_POLARITY_LOW;
  hspi3.Init.CLKPhase = SPI_PHASE_1EDGE;
  hspi3.Init.NSS = SPI_NSS_SOFT;
  hspi3.Init.FirstBit = SPI_FIRSTBIT_MSB;
  hspi3.Init.TIMode = SPI_TIMODE_DISABLE;
  hspi3.Init.CRCCalculation = SPI_CRCCALCULATION_DISABLE;
  hspi3.Init.CRCPolynomial = 0x0;
  hspi3.Init.NSSPMode = SPI_NSS_PULSE_DISABLE;
  hspi3.Init.NSSPolarity = SPI_NSS_POLARITY_LOW;
  hspi3.Init.FifoThreshold = SPI_FIFO_THRESHOLD_01DATA;
  hspi3.Init.TxCRCInitializationPattern = SPI_CRC_INITIALIZATION_ALL_ZERO_PATTERN;
  hspi3.Init.RxCRCInitializationPattern = SPI_CRC_INITIALIZATION_ALL_ZERO_PATTERN;
  hspi3.Init.MasterSSIdleness = SPI_MASTER_SS_IDLENESS_00CYCLE;
  hspi3.Init.MasterInterDataIdleness = SPI_MASTER_INTERDATA_IDLENESS_00CYCLE;
  hspi3.Init.MasterReceiverAutoSusp = SPI_MASTER_RX_AUTOSUSP_DISABLE;
  hspi3.Init.MasterKeepIOState = SPI_MASTER_KEEP_IO_STATE_DISABLE;
  hspi3.Init.IOSwap = SPI_IO_SWAP_DISABLE;
  if (HAL_SPI_Init(&hspi3) != HAL_OK)
  {
    Error_Handler();
  }

}

static void MX_SPI4_Init(void)
{

  /* SPI4 parameter configuration*/
  hspi4.Instance = SPI4;
  hspi4.Init.Mode = SPI_MODE_MASTER;
  hspi4.Init.Direction = SPI_DIRECTION_2LINES_TXONLY;
  hspi4.Init.DataSize = SPI_DATASIZE_8BIT;
  hspi4.Init.CLKPolarity = SPI_POLARITY_LOW;
  hspi4.Init.CLKPhase = SPI_PHASE_1EDGE;
  hspi4.Init.NSS = SPI_NSS_SOFT;
  hspi4.Init.BaudRatePrescaler = SPI_BAUDRATEPRESCALER_4;
  hspi4.Init.FirstBit = SPI_FIRSTBIT_MSB;
  hspi4.Init.TIMode = SPI_TIMODE_DISABLE;
  hspi4.Init.CRCCalculation = SPI_CRCCALCULATION_DISABLE;
  hspi4.Init.CRCPolynomial = 0x0;
  hspi4.Init.NSSPMode = SPI_NSS_PULSE_DISABLE;
  hspi4.Init.NSSPolarity = SPI_NSS_POLARITY_LOW;
  hspi4.Init.FifoThreshold = SPI_FIFO_THRESHOLD_01DATA;
  hspi4.Init.TxCRCInitializationPattern = SPI_CRC_INITIALIZATION_ALL_ZERO_PATTERN;
  hspi4.Init.RxCRCInitializationPattern = SPI_CRC_INITIALIZATION_ALL_ZERO_PATTERN;
  hspi4.Init.MasterSSIdleness = SPI_MASTER_SS_IDLENESS_00CYCLE;
  hspi4.Init.MasterInterDataIdleness = SPI_MASTER_INTERDATA_IDLENESS_00CYCLE;
  hspi4.Init.MasterReceiverAutoSusp = SPI_MASTER_RX_AUTOSUSP_DISABLE;
  hspi4.Init.MasterKeepIOState = SPI_MASTER_KEEP_IO_STATE_DISABLE;
  hspi4.Init.IOSwap = SPI_IO_SWAP_DISABLE;
  if (HAL_SPI_Init(&hspi4) != HAL_OK)
  {
    Error_Handler();
  }

}

static void MX_TIM1_Init(void)
{

  TIM_ClockConfigTypeDef sClockSourceConfig = {0};
  TIM_MasterConfigTypeDef sMasterConfig = {0};

  htim1.Instance = TIM1;
  htim1.Init.Prescaler = 479;
  htim1.Init.CounterMode = TIM_COUNTERMODE_UP;
  htim1.Init.Period = 49;
  htim1.Init.ClockDivision = TIM_CLOCKDIVISION_DIV1;
  htim1.Init.RepetitionCounter = 0;
  htim1.Init.AutoReloadPreload = TIM_AUTORELOAD_PRELOAD_DISABLE;
  if (HAL_TIM_Base_Init(&htim1) != HAL_OK)
  {
    Error_Handler();
  }
  sClockSourceConfig.ClockSource = TIM_CLOCKSOURCE_INTERNAL;
  if (HAL_TIM_ConfigClockSource(&htim1, &sClockSourceConfig) != HAL_OK)
  {
    Error_Handler();
  }
  sMasterConfig.MasterOutputTrigger = TIM_TRGO_RESET;
  sMasterConfig.MasterOutputTrigger2 = TIM_TRGO2_RESET;
  sMasterConfig.MasterSlaveMode = TIM_MASTERSLAVEMODE_DISABLE;
  if (HAL_TIMEx_MasterConfigSynchronization(&htim1, &sMasterConfig) != HAL_OK)
  {
    Error_Handler();
  }

}

static void MX_TIM7_Init(void)
{

  TIM_MasterConfigTypeDef sMasterConfig = {0};

  htim7.Instance = TIM7;
  htim7.Init.Prescaler = 240;
  htim7.Init.CounterMode = TIM_COUNTERMODE_UP;
  htim7.Init.Period = 50000;
  htim7.Init.AutoReloadPreload = TIM_AUTORELOAD_PRELOAD_DISABLE;
  if (HAL_TIM_Base_Init(&htim7) != HAL_OK)
  {
    Error_Handler();
  }
  sMasterConfig.MasterOutputTrigger = TIM_TRGO_RESET;
  sMasterConfig.MasterSlaveMode = TIM_MASTERSLAVEMODE_DISABLE;
  if (HAL_TIMEx_MasterConfigSynchronization(&htim7, &sMasterConfig) != HAL_OK)
  {
    Error_Handler();
  }

}

static void MX_DMA_Init(void)
{

  /* DMA controller clock enable */
  __HAL_RCC_DMA1_CLK_ENABLE();

  /* DMA interrupt init */
  /* DMA1_Stream0_IRQn interrupt configuration */
  HAL_NVIC_SetPriority(DMA1_Stream0_IRQn, 0, 0);
  HAL_NVIC_EnableIRQ(DMA1_Stream0_IRQn);
  /* DMA1_Stream1_IRQn interrupt configuration */
  HAL_NVIC_SetPriority(DMA1_Stream1_IRQn, 0, 0);
  HAL_NVIC_EnableIRQ(DMA1_Stream1_IRQn);

}

static void MX_GPIO_Init(void)
{
  GPIO_InitTypeDef GPIO_InitStruct = {0};

  /* GPIO Ports Clock Enable */
  __HAL_RCC_GPIOE_CLK_ENABLE();
  __HAL_RCC_GPIOC_CLK_ENABLE();
  __HAL_RCC_GPIOH_CLK_ENABLE();
  __HAL_RCC_GPIOA_CLK_ENABLE();
  __HAL_RCC_GPIOB_CLK_ENABLE();
  __HAL_RCC_GPIOD_CLK_ENABLE();

  /*Configure GPIO pin Output Level */
  HAL_GPIO_WritePin(GPIOE, GPIO_PIN_4|GPIO_PIN_5|CAN1_ind_Pin, GPIO_PIN_RESET);

  /*Configure GPIO pin Output Level */
  HAL_GPIO_WritePin(GPIOC, CAN2_ind_Pin|CAN3_ind_Pin, GPIO_PIN_RESET);

  /*Configure GPIO pins : PE4 CAN1_ind_Pin */
  GPIO_InitStruct.Pin = GPIO_PIN_4|CAN1_ind_Pin;
  GPIO_InitStruct.Mode = GPIO_MODE_OUTPUT_PP;
  GPIO_InitStruct.Pull = GPIO_NOPULL;
  GPIO_InitStruct.Speed = GPIO_SPEED_FREQ_LOW;
  HAL_GPIO_Init(GPIOE, &GPIO_InitStruct);

  /*Configure GPIO pin : PE5 */
  GPIO_InitStruct.Pin = GPIO_PIN_5;
  GPIO_InitStruct.Mode = GPIO_MODE_OUTPUT_OD;
  GPIO_InitStruct.Pull = GPIO_NOPULL;
  GPIO_InitStruct.Speed = GPIO_SPEED_FREQ_LOW;
  HAL_GPIO_Init(GPIOE, &GPIO_InitStruct);

  /*Configure GPIO pins : CAN2_ind_Pin CAN3_ind_Pin */
  GPIO_InitStruct.Pin = CAN2_ind_Pin|CAN3_ind_Pin;
  GPIO_InitStruct.Mode = GPIO_MODE_OUTPUT_PP;
  GPIO_InitStruct.Pull = GPIO_NOPULL;
  GPIO_InitStruct.Speed = GPIO_SPEED_FREQ_LOW;
  HAL_GPIO_Init(GPIOC, &GPIO_InitStruct);

  /*Configure GPIO pin : PA15 */
  GPIO_InitStruct.Pin = GPIO_PIN_15;
  GPIO_InitStruct.Mode = GPIO_MODE_IT_FALLING;
  GPIO_InitStruct.Pull = GPIO_NOPULL;
  HAL_GPIO_Init(GPIOA, &GPIO_InitStruct);

  /* EXTI interrupt init*/
  HAL_NVIC_SetPriority(EXTI15_10_IRQn, 0, 0);
  HAL_NVIC_EnableIRQ(EXTI15_10_IRQn);

}

/* USER CODE BEGIN 4 */
// returns the size of serialized message in bytes
uint8_t serialize_can_frame( uint8_t bus, uint32_t id, size_t size, uint8_t* src, uint8_t* dst)
{
  dst[0] = size + 5; // the first byte holds the full length of serialized frame

  uint32_t bus_id = encode_bus_id( bus, id );
  *(uint32_t*)&dst[1] = bus_id; // write 4-byte long bus_id into the 1-4 bytes of array
  if( src != NULL )
  {
    memcpy( &dst[5], src, size);
  }
  return size + 5;
}

void *deserialize_can_frame( uint8_t *bus, uint32_t *id, size_t *size, uint8_t* dst, uint8_t* src)
{
  *size = src[0] - 5;

  *bus = decode_bus_num( *(uint32_t*)&src[1] );
  *id = decode_can_id( *(uint32_t*)&src[1] );

  // in case the destination pointer is zero, just unpacks the service info
  if( dst != NULL )
  {
    memcpy( dst, &src[5], *size);
  }

  return &src[5];
}

void HAL_TIM_PeriodElapsedCallback(TIM_HandleTypeDef *htim)
{
  if( htim->Instance == TIM1 )
  {
    //HAL_GPIO_TogglePin(GPIOA, GPIO_PIN_6);
    //TIM1_Callback();
  }
  if( htim->Instance == TIM7 )
  {
    for( int i = 0; i < 3; i++ )
    {
      if( indicators_state[i] )
      {
        // enable LED
        LL_GPIO_SetOutputPin(indicators_ports[i], indicators_pins[i]);
        indicators_state[i] = 0;
      }
      else
      {
        LL_GPIO_ResetOutputPin(indicators_ports[i], indicators_pins[i]);
      }
    }
  }
}

// https://stackoverflow.com/a/25004214
uint8_t findIndex(FDCAN_HandleTypeDef *array, size_t size, FDCAN_HandleTypeDef* target)
{
    uint8_t i=0;
    while((i<size) && (&array[i] != target)) i++;

    return (i<size) ? (i) : (-1);
}

void HAL_FDCAN_TxFifoEmptyCallback(FDCAN_HandleTypeDef *hfdcan)
{
  // this callback shouldnt be called fof disabled CAN buses, so no need to check for NULL pointer

  // find bus number from the handle name
  uint8_t bus_num = findIndex(*FDCAN_Handles_Map, 3, hfdcan);

  while( HAL_FDCAN_GetTxFifoFreeLevel(hfdcan) != 0  )
  {
    uint8_t * vb_frame = get_queue_head( can_tx_queues[bus_num] );
    if( vb_frame != NULL )
    {
      uint8_t bus;
      uint32_t id;
      size_t frame_len;

      uint8_t *tx_data_pointer = deserialize_can_frame( &bus, &id, &frame_len, NULL, vb_frame); // only extracts service info

      push_can_frame( hfdcan, id, frame_len, tx_data_pointer);

      uint32_t primask_bit = __get_PRIMASK();       // backup PRIMASK bit
      __disable_irq();                              // Disable all interrupts by setting PRIMASK bit on Cortex

        circular_heap_free( can_tx_heaps[bus_num], dequeue( can_tx_queues[bus_num] ));

      __set_PRIMASK(primask_bit);                   // Restore PRIMASK bit
    }
    else
    {
      break ;
    }
  }

  return ;
}

// push CAN frame into CAN FIFO
uint8_t push_can_frame( FDCAN_HandleTypeDef *handle, uint32_t id, uint8_t length, uint8_t *payload)
{
  if (HAL_FDCAN_GetTxFifoFreeLevel(handle) != 0)
  {
    FDCAN_TxHeaderTypeDef TxHeader;
    // Add message to Tx FIFO
    TxHeader.Identifier = id;
    TxHeader.IdType = FDCAN_EXTENDED_ID;
    TxHeader.TxFrameType = FDCAN_DATA_FRAME;
    TxHeader.DataLength = LengthCoder( length );
    TxHeader.ErrorStateIndicator = FDCAN_ESI_ACTIVE;
    TxHeader.BitRateSwitch = FDCAN_BRS_ON;
    TxHeader.FDFormat = FDCAN_FD_CAN;
    TxHeader.TxEventFifoControl = FDCAN_STORE_TX_EVENTS;
    TxHeader.MessageMarker = 0x00;
    if (HAL_FDCAN_AddMessageToTxFifoQ(handle, &TxHeader, payload) != HAL_OK)
    {
      Error_Handler();
    }
  }
  else
  {
    return 1;
  }

  return 0;
}

void HAL_SPI_TxCpltCallback(SPI_HandleTypeDef *hspi)
{
  if( hspi->Instance == SPI4 )
  {
    circular_heap_free( &spi_tx_heap, dequeue( &spi_tx_queue ));
    send_frame_SPI();
  }
}

// push VB CAN frame into SPI DMA
uint8_t send_frame_SPI(void)
{
  if( !LL_SPI_IsActiveMasterTransfer(SPI4) )
  {
    uint8_t * vb_frame = get_queue_head( &spi_tx_queue );
    if( vb_frame != NULL )
    {
      // bind payload to SPI DMA transfer
      uint8_t data_len = vb_frame[0];

      LL_GPIO_SetOutputPin(GPIOE, LL_GPIO_PIN_4);
      HAL_SPI_Transmit_DMA(&hspi4, vb_frame, data_len);
    }
    else
    {
      // buffer's empty!
    }
  }

  return 0;
}

void UDP_TX_send( uint16_t *UDP_TX_level )
{
  pbuf_realloc( UDP_TX_buf, *UDP_TX_level);

  udp_send(upcb, UDP_TX_buf);

  pbuf_free(UDP_TX_buf);
  UDP_TX_buf = pbuf_alloc(PBUF_TRANSPORT, UDP_TX_size, PBUF_RAM);
  *UDP_TX_level = 0;
}
/* USER CODE END 4 */

/* MPU Configuration */

void MPU_Config(void)
{
  MPU_Region_InitTypeDef MPU_InitStruct = {0};

  /* Disables the MPU */
  HAL_MPU_Disable();

  /** Initializes and configures the Region and the memory to be protected
  */
  MPU_InitStruct.Enable = MPU_REGION_ENABLE;
  MPU_InitStruct.Number = MPU_REGION_NUMBER0;
  MPU_InitStruct.BaseAddress = 0x0;
  MPU_InitStruct.Size = MPU_REGION_SIZE_4GB;
  MPU_InitStruct.SubRegionDisable = 0x87;
  MPU_InitStruct.TypeExtField = MPU_TEX_LEVEL0;
  MPU_InitStruct.AccessPermission = MPU_REGION_NO_ACCESS;
  MPU_InitStruct.DisableExec = MPU_INSTRUCTION_ACCESS_DISABLE;
  MPU_InitStruct.IsShareable = MPU_ACCESS_SHAREABLE;
  MPU_InitStruct.IsCacheable = MPU_ACCESS_NOT_CACHEABLE;
  MPU_InitStruct.IsBufferable = MPU_ACCESS_NOT_BUFFERABLE;

  HAL_MPU_ConfigRegion(&MPU_InitStruct);

  /** Initializes and configures the Region and the memory to be protected
  */
  MPU_InitStruct.Number = MPU_REGION_NUMBER1;
  MPU_InitStruct.BaseAddress = 0x30000000;
  MPU_InitStruct.Size = MPU_REGION_SIZE_1KB;
  MPU_InitStruct.SubRegionDisable = 0x0;
  MPU_InitStruct.AccessPermission = MPU_REGION_FULL_ACCESS;
  MPU_InitStruct.DisableExec = MPU_INSTRUCTION_ACCESS_ENABLE;
  MPU_InitStruct.IsShareable = MPU_ACCESS_NOT_SHAREABLE;
  MPU_InitStruct.IsBufferable = MPU_ACCESS_BUFFERABLE;

  HAL_MPU_ConfigRegion(&MPU_InitStruct);

  /** Initializes and configures the Region and the memory to be protected
  */
  MPU_InitStruct.Number = MPU_REGION_NUMBER2;
  MPU_InitStruct.BaseAddress = 0x30004000;
  MPU_InitStruct.Size = MPU_REGION_SIZE_16KB;
  MPU_InitStruct.TypeExtField = MPU_TEX_LEVEL1;
  MPU_InitStruct.IsShareable = MPU_ACCESS_SHAREABLE;
  MPU_InitStruct.IsBufferable = MPU_ACCESS_NOT_BUFFERABLE;

  HAL_MPU_ConfigRegion(&MPU_InitStruct);

  /** Initializes and configures the Region and the memory to be protected
  */
  MPU_InitStruct.Number = MPU_REGION_NUMBER3;
  MPU_InitStruct.BaseAddress = 0x24000000;
  MPU_InitStruct.Size = MPU_REGION_SIZE_128KB;
  MPU_InitStruct.TypeExtField = MPU_TEX_LEVEL0;

  HAL_MPU_ConfigRegion(&MPU_InitStruct);
  /* Enables the MPU */
  HAL_MPU_Enable(MPU_PRIVILEGED_DEFAULT);

}

void Error_Handler(void)
{
  __disable_irq();
  while (1)
  {
  }
}
